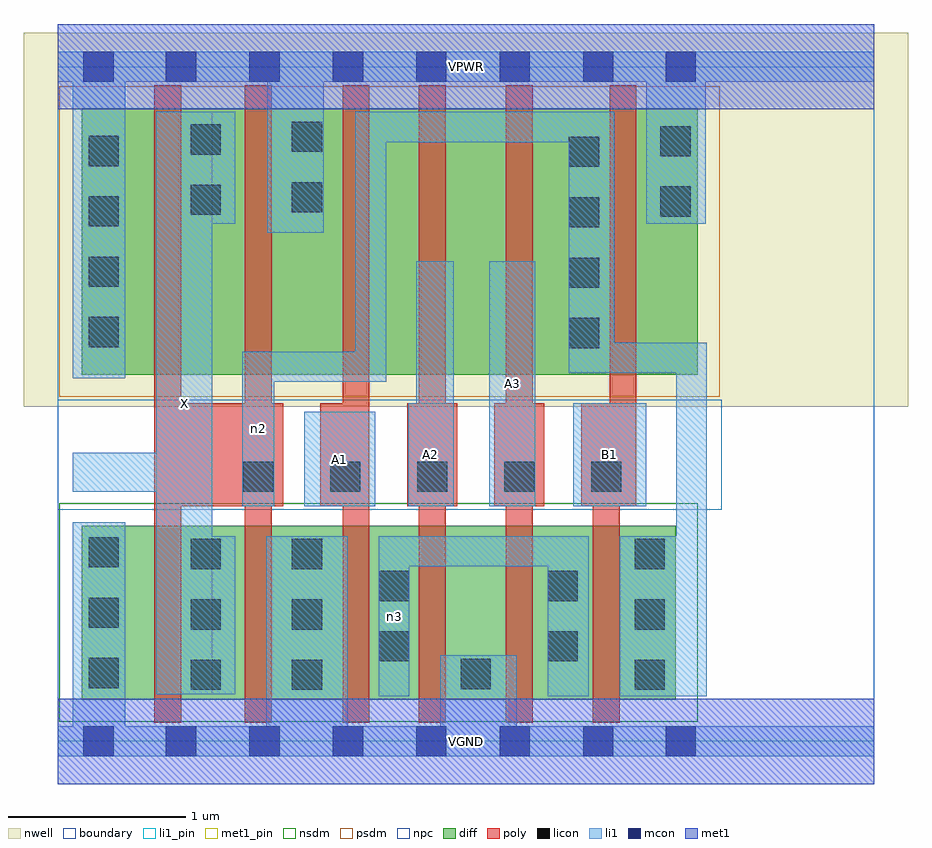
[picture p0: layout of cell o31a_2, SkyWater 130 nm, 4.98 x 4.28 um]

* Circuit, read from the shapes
.subckt o31a_2 A1 A2 A3 B1 VGND VPWR X n2 n3
XM1 X n2 VGND VSUBS sky130_fd_pr__nfet_01v8 w=0.98 l=0.15 m=2
XM2 n3 A1 VGND VSUBS sky130_fd_pr__nfet_01v8 w=0.98 l=0.15
XM3 VGND A2 n3 VSUBS sky130_fd_pr__nfet_01v8 w=0.98 l=0.15
XM4 n3 A3 VGND VSUBS sky130_fd_pr__nfet_01v8 w=0.98 l=0.15
XM5 n2 B1 n3 VSUBS sky130_fd_pr__nfet_01v8 w=0.98 l=0.15
XM6 X n2 VPWR n1 sky130_fd_pr__pfet_01v8 w=1.5 l=0.15 m=2
XM7 n4 A1 VPWR n1 sky130_fd_pr__pfet_01v8 w=1.5 l=0.15
XM8 n5 A2 n4 n1 sky130_fd_pr__pfet_01v8 w=1.5 l=0.15
XM9 n2 A3 n5 n1 sky130_fd_pr__pfet_01v8 w=1.5 l=0.15
XM10 VPWR B1 n2 n1 sky130_fd_pr__pfet_01v8 w=1.5 l=0.15
.ends

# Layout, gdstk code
import gdstk
lib = gdstk.Library(unit=1e-6, precision=1e-09)
def R(c, l, rs):  # rectangles x0, y0, x1, y1
    for r in rs: c.add(gdstk.rectangle(r[:2], r[2:], *l))
def A(c, l, x, y, w, h, nx, ny, dx, dy):  # array of equal rectangles
    R(c, l, [(x+i*dx, y+j*dy, x+i*dx+w, y+j*dy+h) for i in range(nx) for j in range(ny)])
nwell = (64, 20)
diff = (65, 20)
poly = (66, 20)
licon = (66, 44)
li1_pin = (67, 16)
li1 = (67, 20)
mcon = (67, 44)
met1_pin = (68, 16)
met1 = (68, 20)
nsdm = (93, 44)
psdm = (94, 20)
npc = (95, 20)
boundary = (235, 4)

o31a_2 = lib.new_cell('o31a_2')
R(o31a_2, nwell, [(-0.19,1.885,4.79,3.99), (0,1.885,4.6,3.99)])
R(o31a_2, diff, [(0.135,0.235,3.48,1.215), (0.135,2.065,3.605,3.565)])
R(o31a_2, poly, [(0.545,0.105,0.695,3.695), (1.055,0.105,1.205,3.695), (1.605,0.105,1.755,3.695), (2.035,0.105,2.185,3.695), (2.525,0.105,2.675,3.695), (3.015,0.105,3.165,1.905), (0.545,1.325,1.27,1.905), (1.48,1.325,1.755,1.905), (1.97,1.325,2.25,1.905), (2.46,1.325,2.74,1.905), (2.95,1.325,3.26,1.905), (3.11,1.325,3.26,3.695)])
A(o31a_2, licon, 0.75, 0.29, 0.17, 0.17, 1, 3, 0, 0.34)
A(o31a_2, licon, 1.32, 0.29, 0.17, 0.17, 1, 3, 0, 0.34)
A(o31a_2, licon, 3.25, 0.29, 0.17, 0.17, 1, 3, 0, 0.34)
A(o31a_2, licon, 0.175, 0.3, 0.17, 0.17, 1, 3, 0, 0.34)
A(o31a_2, licon, 1.045, 1.405, 0.17, 0.17, 5, 1, 0.49, 0)
A(o31a_2, licon, 2.88, 2.215, 0.17, 0.17, 1, 4, 0, 0.34)
A(o31a_2, licon, 0.175, 2.22, 0.17, 0.17, 1, 4, 0, 0.34)
R(o31a_2, licon, [(2.27,0.295,2.44,0.465), (1.81,0.45,1.98,0.62), (2.76,0.45,2.93,0.62), (1.81,0.79,1.98,0.96), (2.76,0.79,2.93,0.96), (3.395,2.955,3.565,3.125), (0.75,2.965,0.92,3.135), (1.32,2.98,1.49,3.15), (3.395,3.295,3.565,3.465), (0.75,3.305,0.92,3.475), (1.32,3.32,1.49,3.49)])
R(o31a_2, li1_pin, [(0.555,0.265,0.87,3.545), (1.39,1.325,1.79,1.855), (1.975,1.325,2.23,1.905), (2.43,1.325,2.69,2.705), (2.905,1.325,3.315,1.905)])
R(o31a_2, li1, [(0,-0.085,4.6,0.085), (0.085,-0.085,0.38,1.235), (1.175,-0.085,1.635,1.155), (2.155,-0.085,2.585,0.485), (1.81,0.255,1.98,1.155), (2.76,0.255,2.99,1.155), (3.165,0.255,3.655,1.155), (3.485,0.255,3.655,2.245), (0.555,0.265,0.87,3.545), (0.555,0.265,1,1.155), (1.81,0.985,2.99,1.155), (1.04,1.325,1.22,2.195), (1.39,1.325,1.79,1.855), (1.975,1.325,2.23,1.905), (2.02,1.325,2.23,2.705), (2.43,1.325,2.69,2.705), (2.905,1.325,3.315,1.905), (0.085,1.405,0.87,1.625), (1.04,2.025,1.85,2.195), (1.675,2.025,1.85,3.545), (0.085,2.045,0.38,3.885), (2.88,2.075,3.135,3.545), (2.88,2.075,3.655,2.245), (1.18,2.865,1.5,3.885), (0.555,2.915,1,3.545), (3.315,2.915,3.65,3.885), (1.675,3.375,3.135,3.545), (0,3.715,4.6,3.885)])
A(o31a_2, mcon, 0.61, -0.085, 0.17, 0.17, 6, 2, 0.47, 3.8)
R(o31a_2, mcon, [(0.145,-0.085,0.315,0.085), (3.425,-0.085,3.595,0.085), (0.145,3.715,0.315,3.885), (3.425,3.715,3.595,3.885)])
R(o31a_2, met1_pin, [(0,-0.24,4.6,0.24), (0,3.56,4.6,4.04)])
R(o31a_2, met1, [(0,-0.24,4.6,0.24), (0,3.56,4.6,4.04)])
R(o31a_2, nsdm, [(0.01,0.11,3.605,1.34)])
R(o31a_2, psdm, [(0.01,1.94,3.73,3.69)])
R(o31a_2, npc, [(0,1.305,3.74,1.925)])
R(o31a_2, boundary, [(0,0,4.6,3.8)])
o31a_2.add(gdstk.Label('A1', (1.59,1.59), layer=67, texttype=5))
o31a_2.add(gdstk.Label('A2', (2.102,1.615), layer=67, texttype=5))
o31a_2.add(gdstk.Label('A3', (2.56,2.015), layer=67, texttype=5))
o31a_2.add(gdstk.Label('B1', (3.11,1.615), layer=67, texttype=5))
o31a_2.add(gdstk.Label('X', (0.712,1.905), layer=67, texttype=5))
o31a_2.add(gdstk.Label('n3', (1.895,0.705), layer=67, texttype=5))
o31a_2.add(gdstk.Label('n2', (1.13,1.76), layer=67, texttype=5))
o31a_2.add(gdstk.Label('VPWR', (2.3,3.8), layer=68, texttype=5))
o31a_2.add(gdstk.Label('VGND', (2.3,0), layer=68, texttype=5))
o31a_2.add(gdstk.Label('A1', (1.59,1.59), layer=67, texttype=16))
o31a_2.add(gdstk.Label('A2', (2.102,1.615), layer=67, texttype=16))
o31a_2.add(gdstk.Label('A3', (2.56,2.015), layer=67, texttype=16))
o31a_2.add(gdstk.Label('B1', (3.11,1.615), layer=67, texttype=16))
o31a_2.add(gdstk.Label('X', (0.712,1.905), layer=67, texttype=16))
o31a_2.add(gdstk.Label('VPWR', (2.3,3.8), layer=68, texttype=16))
o31a_2.add(gdstk.Label('VGND', (2.3,0), layer=68, texttype=16))

lib.write_gds('o31a_2.gds')
